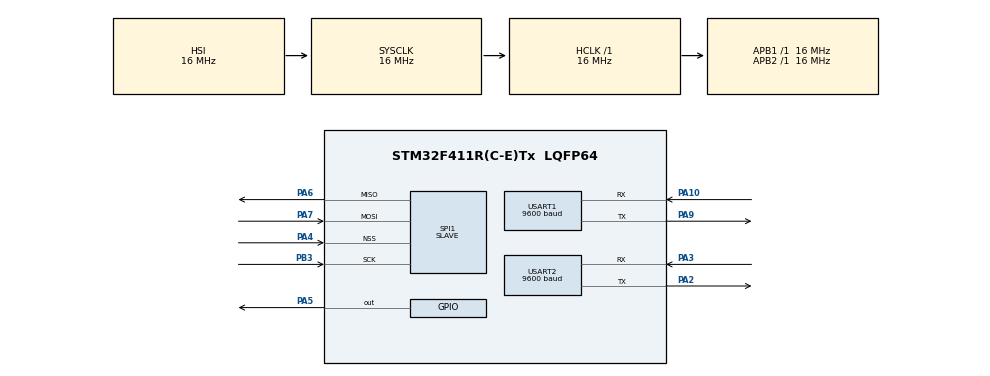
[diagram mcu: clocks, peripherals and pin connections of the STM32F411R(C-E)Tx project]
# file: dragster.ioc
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Dma.Request0=SPI1_TX
Dma.SPI1_TX.0.Direction=DMA_MEMORY_TO_PERIPH
Dma.SPI1_TX.0.FIFOMode=DMA_FIFOMODE_DISABLE
Dma.SPI1_TX.0.Instance=DMA2_Stream2
Dma.SPI1_TX.0.MemDataAlignment=DMA_MDATAALIGN_BYTE
Dma.SPI1_TX.0.MemInc=DMA_MINC_ENABLE
Dma.SPI1_TX.0.Mode=DMA_NORMAL
Dma.SPI1_TX.0.PeriphDataAlignment=DMA_PDATAALIGN_BYTE
Dma.SPI1_TX.0.PeriphInc=DMA_PINC_DISABLE
Dma.SPI1_TX.0.Priority=DMA_PRIORITY_LOW
Mcu.Family=STM32F4
Mcu.Name=STM32F411R(C-E)Tx
Mcu.Package=LQFP64
NVIC.DMA2_Stream2_IRQn=true\:0\:0\:false\:false\:true\:false\:true\:true
NVIC.PriorityGroup=NVIC_PRIORITYGROUP_4
NVIC.SPI1_IRQn=true\:0\:0\:false\:false\:true\:true\:true\:true
PA10.Mode=Asynchronous
PA10.Signal=USART1_RX
PA2.Mode=Asynchronous
PA2.Signal=USART2_TX
PA3.Mode=Asynchronous
PA3.Signal=USART2_RX
PA4.Mode=NSS_Signal_Hard_Input
PA4.Signal=SPI1_NSS
PA5.Signal=GPIO_Output
PA6.Mode=Full_Duplex_Slave
PA6.Signal=SPI1_MISO
PA7.Mode=Full_Duplex_Slave
PA7.Signal=SPI1_MOSI
PA9.Mode=Asynchronous
PA9.Signal=USART1_TX
PB3.Mode=Full_Duplex_Slave
PB3.Signal=SPI1_SCK
ProjectManager.HeapSize=0x200
ProjectManager.StackSize=0x400
ProjectManager.TargetToolchain=CMake
RCC.AHBFreq_Value=16000000
RCC.APB1Freq_Value=16000000
RCC.APB1TimFreq_Value=16000000
RCC.APB2Freq_Value=16000000
RCC.APB2TimFreq_Value=16000000
RCC.CortexFreq_Value=16000000
RCC.HCLKFreq_Value=16000000
RCC.HSE_VALUE=25000000
RCC.HSI_VALUE=16000000
RCC.LSE_VALUE=32768
RCC.SYSCLKFreq_VALUE=16000000
RCC.VCOOutputFreq_Value=192000000
SPI1.CLKPhase=SPI_PHASE_1EDGE
SPI1.CLKPolarity=SPI_POLARITY_LOW
SPI1.CRCCalculation=SPI_CRCCALCULATION_DISABLE
SPI1.Direction=SPI_DIRECTION_2LINES
SPI1.Mode=SPI_MODE_SLAVE
SPI1.VirtualNSS=VM_NSSHARD
SPI1.VirtualType=VM_SLAVE
USART1.BaudRate=9600
USART1.VirtualMode=VM_ASYNC
USART2.BaudRate=9600
USART2.VirtualMode=VM_ASYNC
board=custom

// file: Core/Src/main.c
/* USER CODE BEGIN Header */
/**
 ******************************************************************************
 * @file           : main.c
 * @brief          : Main program body
 ******************************************************************************
 * @attention
 *
 * Copyright (c) 2024 STMicroelectronics.
 * All rights reserved.
 *
 * This software is licensed under terms that can be found in the LICENSE file
 * in the root directory of this software component.
 * If no LICENSE file comes with this software, it is provided AS-IS.
 *
 ******************************************************************************
 */
/* USER CODE END Header */
#include "main.h"

/* USER CODE BEGIN Includes */
#include <stdio.h>
#include <string.h>
/* USER CODE END Includes */

SPI_HandleTypeDef hspi1;
DMA_HandleTypeDef hdma_spi1_tx;

UART_HandleTypeDef huart1;
UART_HandleTypeDef huart2;

void SystemClock_Config(void);
static void MX_GPIO_Init(void);
static void MX_DMA_Init(void);
static void MX_USART2_UART_Init(void);
static void MX_SPI1_Init(void);
static void MX_USART1_UART_Init(void);

int main(void)
{

    /* MCU Configuration--------------------------------------------------------*/

    /* Reset of all peripherals, Initializes the Flash interface and the Systick. */
    HAL_Init();

    /* Configure the system clock */
    SystemClock_Config();

    /* Initialize all configured peripherals */
    MX_GPIO_Init();
    MX_DMA_Init();
    MX_USART2_UART_Init();
    MX_SPI1_Init();
    MX_USART1_UART_Init();
    /* USER CODE BEGIN 2 */
    // reply message
    typedef struct
    {
        uint16_t board_id;
        uint16_t board_id_inverse;
        uint8_t update_period;
        uint8_t channels;
    } setup_reply_t;

    setup_reply_t setup_reply;
    setup_reply.board_id = 0x1234;
    setup_reply.board_id_inverse = ~setup_reply.board_id;
    setup_reply.update_period = 100;
    setup_reply.channels = 1;

    uint32_t lastTransmitTime = 0;
    uint8_t spi_rx_data[22];

    HAL_SPI_Receive(&hspi1, spi_rx_data, sizeof(spi_rx_data), HAL_MAX_DELAY);

    for (int i = 0; i < sizeof(spi_rx_data); i++)
    {
        char buffer[10];
        sprintf(buffer, "%d ", spi_rx_data[i]); // Format each byte as decimal
        HAL_UART_Transmit(&huart2, (uint8_t *)buffer, strlen(buffer), 100);
    }
    // add check for dragster system
    HAL_UART_Transmit(&huart2, "\r\n", strlen("\r\n"), 100);

    // HAL_SPI_Transmit(&hspi1, buffer1, sizeof(buffer1), HAL_MAX_DELAY);
    // hello
    uint8_t tx_buffer[22] = {0};
    memcpy(&tx_buffer[16], &setup_reply, sizeof(setup_reply));

    // loop to try and send back
    while (1)
    {
        // HAL_UART_Transmit(&huart2, (uint8_t*)"1", 1, HAL_MAX_DELAY);  // New line after printing the buffer
        if (HAL_GPIO_ReadPin(GPIOA, GPIO_PIN_4) == GPIO_PIN_RESET)
        {
            HAL_SPI_TransmitReceive(&hspi1, tx_buffer, spi_rx_data, sizeof(tx_buffer), HAL_MAX_DELAY);
            break;
        }
    }
    // HAL_Delay(4000);
    /* USER CODE END 2 */

    /* Infinite loop */
    /* USER CODE BEGIN WHILE */
    while (1)
    {
        char timeBuffer[20];
        sprintf(timeBuffer, "Time: %lu ms\r\n", lastTransmitTime);

        // Transmit the string over UART
        // HAL_UART_Transmit(&huart2, (uint8_t*)timeBuffer, strlen(timeBuffer), HAL_MAX_DELAY);
        // HAL_UART_Transmit(&huart2, "\r\n", strlen("\r\n"), 100);
        if (HAL_GetTick() - lastTransmitTime >= 0)
        {

            // recieve first byte to determine if there is a flight status change event
            uint8_t first_byte[1];
            HAL_SPI_Receive(&hspi1, first_byte, sizeof(first_byte), HAL_MAX_DELAY);
            if (first_byte[0] == 3)
            {
                uint8_t notify_data[15];
                HAL_SPI_Receive(&hspi1, notify_data, sizeof(notify_data), HAL_MAX_DELAY);
            }
            else
            {
                uint8_t fetch_data[17];
                HAL_SPI_Receive(&hspi1, fetch_data, sizeof(fetch_data), HAL_MAX_DELAY);
                for (int i = 0; i < sizeof(fetch_data); i++)
                {
                    char buffer[10];
                    sprintf(buffer, "%d ", fetch_data[i]); // Format each byte as decimal
                    HAL_UART_Transmit(&huart2, (uint8_t *)buffer, strlen(buffer), 100);
                }
            }

            // uint8_t spi_flight_data[18];
            // HAL_SPI_Receive(&hspi1, spi_flight_data, sizeof(spi_flight_data), HAL_MAX_DELAY);
            HAL_UART_Transmit(&huart2, "\r\n", strlen("\r\n"), 100);

            // char timeBuffer[20];
            // sprintf(timeBuffer, "Time: %lu ms\r\n", lastTransmitTime);

            // Transmit the string over UART
            // HAL_UART_Transmit(&huart2, (uint8_t*)timeBuffer, strlen(timeBuffer), HAL_MAX_DELAY);

            char msg[] = "Hello, Tera Term!\r\n";
            // HAL_UART_Transmit(&huart1, (uint8_t*)msg, strlen(msg), HAL_MAX_DELAY);
            HAL_GPIO_TogglePin(GPIOA, GPIO_PIN_5);
            lastTransmitTime = HAL_GetTick();
        }
        /* USER CODE END WHILE */

    }
}

void SystemClock_Config(void)
{
    RCC_OscInitTypeDef RCC_OscInitStruct = {0};
    RCC_ClkInitTypeDef RCC_ClkInitStruct = {0};

    /** Configure the main internal regulator output voltage
     */
    __HAL_RCC_PWR_CLK_ENABLE();
    __HAL_PWR_VOLTAGESCALING_CONFIG(PWR_REGULATOR_VOLTAGE_SCALE1);

    /** Initializes the RCC Oscillators according to the specified parameters
     * in the RCC_OscInitTypeDef structure.
     */
    RCC_OscInitStruct.OscillatorType = RCC_OSCILLATORTYPE_HSI;
    RCC_OscInitStruct.HSIState = RCC_HSI_ON;
    RCC_OscInitStruct.HSICalibrationValue = RCC_HSICALIBRATION_DEFAULT;
    RCC_OscInitStruct.PLL.PLLState = RCC_PLL_NONE;
    if (HAL_RCC_OscConfig(&RCC_OscInitStruct) != HAL_OK)
    {
        Error_Handler();
    }

    /** Initializes the CPU, AHB and APB buses clocks
     */
    RCC_ClkInitStruct.ClockType = RCC_CLOCKTYPE_HCLK | RCC_CLOCKTYPE_SYSCLK | RCC_CLOCKTYPE_PCLK1 | RCC_CLOCKTYPE_PCLK2;
    RCC_ClkInitStruct.SYSCLKSource = RCC_SYSCLKSOURCE_HSI;
    RCC_ClkInitStruct.AHBCLKDivider = RCC_SYSCLK_DIV1;
    RCC_ClkInitStruct.APB1CLKDivider = RCC_HCLK_DIV1;
    RCC_ClkInitStruct.APB2CLKDivider = RCC_HCLK_DIV1;

    if (HAL_RCC_ClockConfig(&RCC_ClkInitStruct, FLASH_LATENCY_0) != HAL_OK)
    {
        Error_Handler();
    }
}

static void MX_SPI1_Init(void)
{

    /* SPI1 parameter configuration*/
    hspi1.Instance = SPI1;
    hspi1.Init.Mode = SPI_MODE_SLAVE;
    hspi1.Init.Direction = SPI_DIRECTION_2LINES;
    hspi1.Init.DataSize = SPI_DATASIZE_8BIT;
    hspi1.Init.CLKPolarity = SPI_POLARITY_LOW;
    hspi1.Init.CLKPhase = SPI_PHASE_1EDGE;
    hspi1.Init.NSS = SPI_NSS_HARD_INPUT;
    hspi1.Init.FirstBit = SPI_FIRSTBIT_MSB;
    hspi1.Init.TIMode = SPI_TIMODE_DISABLE;
    hspi1.Init.CRCCalculation = SPI_CRCCALCULATION_DISABLE;
    hspi1.Init.CRCPolynomial = 10;
    if (HAL_SPI_Init(&hspi1) != HAL_OK)
    {
        Error_Handler();
    }
}

static void MX_USART1_UART_Init(void)
{

    huart1.Instance = USART1;
    huart1.Init.BaudRate = 9600;
    huart1.Init.WordLength = UART_WORDLENGTH_8B;
    huart1.Init.StopBits = UART_STOPBITS_1;
    huart1.Init.Parity = UART_PARITY_NONE;
    huart1.Init.Mode = UART_MODE_TX_RX;
    huart1.Init.HwFlowCtl = UART_HWCONTROL_NONE;
    huart1.Init.OverSampling = UART_OVERSAMPLING_16;
    if (HAL_UART_Init(&huart1) != HAL_OK)
    {
        Error_Handler();
    }
}

static void MX_USART2_UART_Init(void)
{

    huart2.Instance = USART2;
    huart2.Init.BaudRate = 9600;
    huart2.Init.WordLength = UART_WORDLENGTH_8B;
    huart2.Init.StopBits = UART_STOPBITS_1;
    huart2.Init.Parity = UART_PARITY_NONE;
    huart2.Init.Mode = UART_MODE_TX_RX;
    huart2.Init.HwFlowCtl = UART_HWCONTROL_NONE;
    huart2.Init.OverSampling = UART_OVERSAMPLING_16;
    if (HAL_UART_Init(&huart2) != HAL_OK)
    {
        Error_Handler();
    }
}

static void MX_DMA_Init(void)
{

    /* DMA controller clock enable */
    __HAL_RCC_DMA2_CLK_ENABLE();

    /* DMA interrupt init */
    /* DMA2_Stream2_IRQn interrupt configuration */
    HAL_NVIC_SetPriority(DMA2_Stream2_IRQn, 0, 0);
    HAL_NVIC_EnableIRQ(DMA2_Stream2_IRQn);
}

static void MX_GPIO_Init(void)
{
    GPIO_InitTypeDef GPIO_InitStruct = {0};

    /* GPIO Ports Clock Enable */
    __HAL_RCC_GPIOA_CLK_ENABLE();
    __HAL_RCC_GPIOB_CLK_ENABLE();

    /*Configure GPIO pin Output Level */
    HAL_GPIO_WritePin(GPIOA, GPIO_PIN_5, GPIO_PIN_RESET);

    /*Configure GPIO pin : PA5 */
    GPIO_InitStruct.Pin = GPIO_PIN_5;
    GPIO_InitStruct.Mode = GPIO_MODE_OUTPUT_PP;
    GPIO_InitStruct.Pull = GPIO_NOPULL;
    GPIO_InitStruct.Speed = GPIO_SPEED_FREQ_LOW;
    HAL_GPIO_Init(GPIOA, &GPIO_InitStruct);

}

void Error_Handler(void)
{
    __disable_irq();
    while (1)
    {
    }
}
